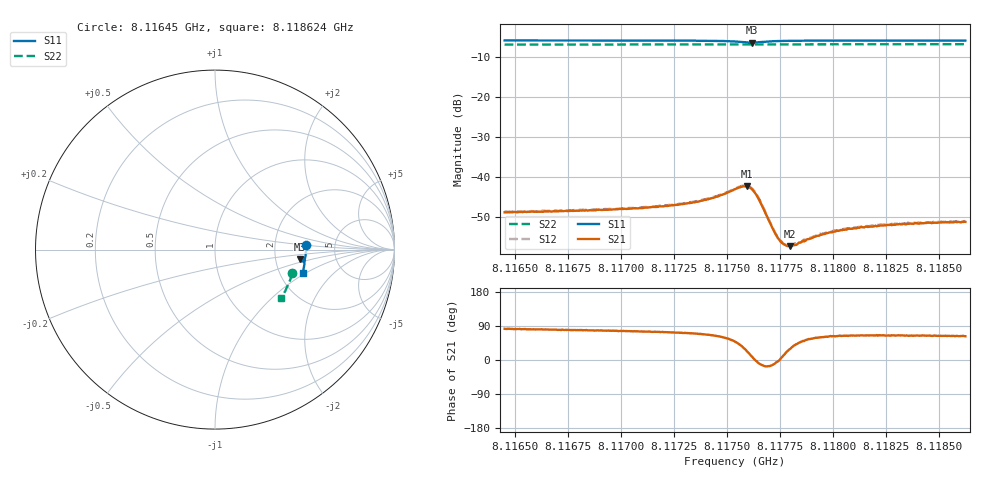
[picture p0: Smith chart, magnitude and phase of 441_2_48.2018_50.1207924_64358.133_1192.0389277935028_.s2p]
#  HZ  S  RI  R  50.00
! Rohde & Schwarz Vector Network Analyzer
! Rohde-Schwarz,ZNB20-2Port,1311601062101988,3.16
! Created: UTC 3/20/2024, 11:55:50 AM
! freq[Hz]  re:S11  im:S11  re:S21  im:S21  re:S12  im:S12  re:S22  im:S22
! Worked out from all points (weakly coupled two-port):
!   401 points, 8.11645 GHz to 8.118624 GHz, reference 50 ohm
!   highest |S21| = -42.39 dB at 8.117591 GHz (marker M1); lowest = -57.4 dB at 8.117797 GHz (marker M2)
!   lowest |S11| = -6.4 dB at 8.117618 GHz (marker M3), VSWR 2.83, Z = 138 - j19.2 ohm
!   |S11| at or under -10 dB: nowhere
!   |S22| runs from -6.9 to -6.8 dB; largest |S21 - S12| = 0.00019
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8.1164496e9  0.5066 0.0253  0.000481 0.00355  0.000548 0.00361  0.4304 -0.1316
8.1168138e9  0.5068 -0.00257  0.00071 0.0037  0.000798 0.00375  0.4231 -0.1558
8.1170583e9  0.5057 -0.0217  0.000978 0.00389  0.00101 0.00393  0.4177 -0.172
8.1171779e9  0.5048 -0.0314  0.00116 0.00409  0.00123 0.00415  0.4145 -0.18
8.117292e9  0.5033 -0.0413  0.00147 0.00431  0.00146 0.00435  0.4117 -0.1875
8.1173735e9  0.5015 -0.049  0.00179 0.00462  0.00187 0.00472  0.4094 -0.1927
8.1174659e9  0.4969 -0.0586  0.00274 0.00514  0.00285 0.00521  0.4065 -0.1987
8.1175366e9  0.488 -0.0656  0.00463 0.00522  0.00476 0.00527  0.4042 -0.2032
8.1175692e9  0.4806 -0.0655  0.00605 0.00444  0.00623 0.00448  0.403 -0.205
8.1175909e9  0.4759 -0.0617  0.00691 0.00315  0.00703 0.00317  0.4021 -0.2061
8.1176181e9  0.4742 -0.0537  0.00684 0.000964  0.00699 0.000906  0.4014 -0.2074
8.1176507e9  0.481 -0.0467  0.00504 -0.00084  0.00516 -0.000911  0.4009 -0.2092
8.1177159e9  0.4941 -0.0511  0.00216 -0.000478  0.00219 -0.000529  0.3996 -0.2134
8.1177377e9  0.4959 -0.054  0.00172 -0.000123  0.00172 -0.000115  0.3989 -0.215
8.1177648e9  0.4976 -0.0575  0.00141 0.000295  0.00142 0.000307  0.3981 -0.2166
8.1177812e9  0.4982 -0.0596  0.00126 0.000514  0.00129 0.000468  0.3978 -0.2178
8.1177975e9  0.4985 -0.0616  0.00117 0.000668  0.0012 0.000674  0.3973 -0.2186
8.1179007e9  0.4991 -0.0724  0.00095 0.00142  0.000952 0.00144  0.3941 -0.2253
8.1179279e9  0.499 -0.0751  0.000937 0.00156  0.00102 0.00163  0.3932 -0.2271
8.1180529e9  0.4978 -0.0859  0.000944 0.00195  0.00102 0.00198  0.389 -0.2349
8.1182649e9  0.4948 -0.1028  0.00107 0.00224  0.00109 0.00232  0.3815 -0.2478
8.1186235e9  0.4883 -0.1296  0.00125 0.00242  0.00126 0.0025  0.368 -0.269
